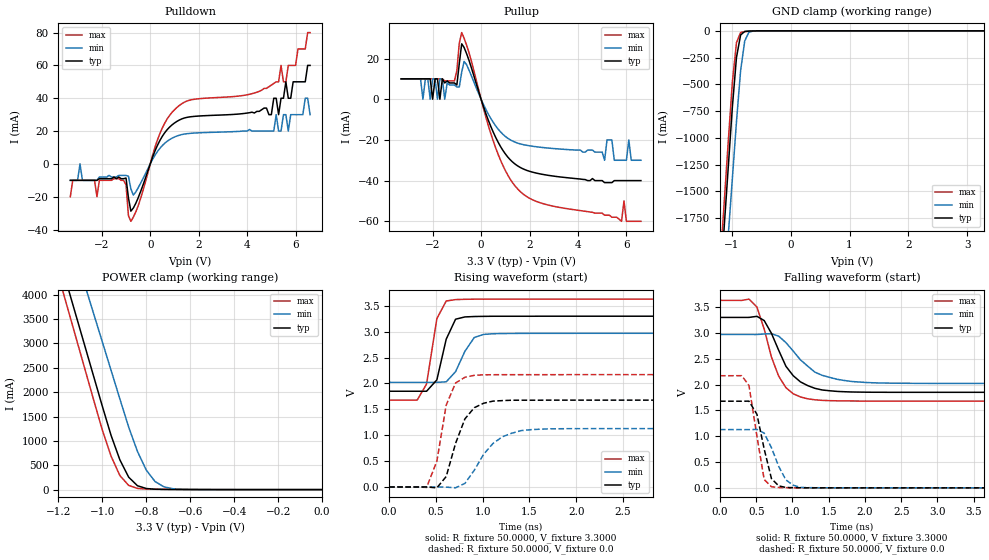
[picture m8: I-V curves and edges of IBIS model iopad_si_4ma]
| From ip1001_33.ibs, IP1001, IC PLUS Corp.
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|   Model iopad_si_4ma
[Model]  iopad_si_4ma
Model_type I/O
Polarity   Non-Inverting
Enable   Active-Low
Vinl =   0.8000V
Vinh =   1.8000V
Vmeas =  1.2500V
C_comp   0.3000pF   0.2400pF   0.3600pF
[Temperature Range]   27.0000   100.0000   0.0
[Voltage Range]   3.3000V   2.9700V   3.6300V
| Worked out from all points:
|   slope of the pulldown table from 0 to 0.495 V, typ, clamps not added: 29.6 ohm
|   slope of the pullup table from 0 to 0.495 V, typ, clamps not added: 31 ohm
|   GND clamp passes 1 mA (typ) near -0.63 V on its own axis
|   POWER clamp passes 1 mA (typ) near -0.57 V on its own axis
|   rising waveform, R_fixture 50.0000, V_fixture 3.3000: 20-80 % time 131ps typ, 168ps min, 102ps max; typ from 1.85 V to 3.3 V
|   rising waveform, R_fixture 50.0000, V_fixture 0.0: 20-80 % time 191ps typ, 286ps min, 150ps max; typ from 0 V to 1.68 V
|   falling waveform, R_fixture 50.0000, V_fixture 3.3000: 20-80 % time 334ps typ, 427ps min, 281ps max; typ from 3.3 V to 1.85 V
|   falling waveform, R_fixture 50.0000, V_fixture 0.0: 20-80 % time 161ps typ, 217ps min, 150ps max; typ from 1.68 V to 0 V
[Pulldown]
|Voltage   I(typ)   I(min)   I(max)
-3.3V     -10mA      -10mA      -20mA
-1.1V     -9mA       -7mA       -10mA
-800mV    -28.77mA   -15.1mA    -34.95mA
1V        24.91mA    16.38mA    32.98mA
5.1V      40mA       20mA       49mA
5.2V      40mA       30mA       50mA
5.3V      30mA       20mA       50mA
5.6V      50mA       30mA       50mA
5.7V      40mA       20mA       60mA
5.8V      40mA       30mA       60mA
6.4V      50mA       40mA       70mA
6.6V      60mA       30mA       80mA
[Pullup]
|Voltage   I(typ)   I(min)   I(max)
-3.3V     10mA       10mA       10mA
-2.4V     10mA       0A         10mA
-1.7V     0A         10mA       10mA
-1.1V     8mA        7mA        9mA
-800mV    27.24mA    13.3mA     32.76mA
600mV     -18.69mA   -13.07mA   -23.83mA
1.5V      -32.69mA   -21.53mA   -43.96mA
5.8V      -40mA      -30mA      -60mA
5.9V      -40mA      -30mA      -50mA
6V        -40mA      -30mA      -60mA
6.1V      -40mA      -20mA      -60mA
6.6V      -40mA      -30mA      -60mA
[GND_clamp]
|Voltage   I(typ)   I(min)   I(max)
-3.3V     -19.41A    -18.96A    -19.6A
-1.2V     -2.411A    -2.98A     -2.198A
-1.13V    -1.844A    -2.447A    -1.618A
-1.06V    -1.278A    -1.914A    -1.038A
-990mV    -713.1mA   -1.382A    -481.3mA
-920mV    -248.8mA   -849.4mA   -111.1mA
-850mV    -39.02mA   -373.5mA   -15.88mA
-780mV    -6.109mA   -94.67mA   -6.703mA
-710mV    -2.353mA   -14.34mA   -4.375mA
-640mV    -1.103mA   -2.066mA   -2.655mA
3.28V     43.51pA    3.97uA     -63.91pA
[POWER_clamp]
|Voltage   I(typ)   I(min)   I(max)
-3.28V    37.2A      36.47A     37.52A
-1.2V     4.828A     5.969A     4.4A
-1.16V    4.205A     5.382A     3.763A
-1.12V    3.582A     4.796A     3.126A
-1.08V    2.96A      4.209A     2.489A
-1.04V    2.337A     3.622A     1.852A
-960mV    1.113A     2.449A     685.8mA
-920mV    611.4mA    1.862A     288.4mA
-840mV    79.46mA    783.6mA    24.69mA
-760mV    7.994mA    166.4mA    7.074mA
-640mV    2.007mA    6.178mA    3.575mA
0V        106.5pA    303.7pA    167.4pA
[Ramp]
| variable   typ   min   max
dV/dt_r  1.0068/0.1914n   0.6768/0.2860n   1.3026/0.1486n
dV/dt_f  0.8700/0.3340n   0.5688/0.4271n   1.1706/0.2806n
R_load = 50.0000
[Rising Waveform]
R_fixture= 50.0000
V_fixture= 3.3000
V_fixture_min= 2.9700
V_fixture_max= 3.6300
|time   V(typ)   V(min)   V(max)
0s        1.85V      2.022V     1.679V
300ps     1.85V      2.022V     1.68V
400ps     1.85V      2.022V     1.99V
510ps     2.069V     2.022V     3.253V
610ps     2.856V     2.032V     3.594V
710ps     3.242V     2.228V     3.621V
810ps     3.286V     2.622V     3.627V
910ps     3.294V     2.889V     3.629V
1.11ns    3.299V     2.961V     3.629V
10ns      3.3V       2.97V      3.63V
[Rising Waveform]
R_fixture= 50.0000
V_fixture= 0.0
V_fixture_min= 0.0
V_fixture_max= 0.0
|time   V(typ)   V(min)   V(max)
0s        0V         0V         0V
400ps     680uV      -7.11uV    -9.092mV
510ps     -17.12mV   197.9uV    497.6mV
610ps     202.3mV    -3.073mV   1.583V
710ps     842.9mV    -15.45mV   2.009V
810ps     1.316V     68.83mV    2.12V
910ps     1.532V     323.1mV    2.158V
1.21ns    1.669V     970.1mV    2.17V
1.62ns    1.677V     1.117V     2.17V
10ns      1.678V     1.128V     2.171V
[Falling Waveform]
R_fixture= 50.0000
V_fixture= 3.3000
V_fixture_min= 2.9700
V_fixture_max= 3.6300
|time   V(typ)   V(min)   V(max)
0s        3.3V       2.97V      3.63V
400ps     3.3V       2.97V      3.654V
510ps     3.321V     2.969V     3.5V
610ps     3.239V     2.98V      3.075V
810ps     2.664V     2.937V     2.162V
1.01ns    2.172V     2.65V      1.822V
1.21ns    1.98V      2.357V     1.724V
1.62ns    1.867V     2.101V     1.685V
2.22ns    1.851V     2.03V      1.68V
10ns      1.85V      2.022V     1.679V
[Falling Waveform]
R_fixture= 50.0000
V_fixture= 0.0
V_fixture_min= 0.0
V_fixture_max= 0.0
|time   V(typ)   V(min)   V(max)
0s        1.678V     1.128V     2.171V
300ps     1.677V     1.128V     2.172V
400ps     1.679V     1.127V     1.982V
510ps     1.423V     1.132V     997.2mV
610ps     751.3mV    1.06V      159.9mV
710ps     179.7mV    778.2mV    21.08mV
810ps     38.57mV    416.3mV    6.356mV
910ps     7.05mV     153.3mV    3.198mV
1.11ns    2.015mV    9.536mV    781.5uV
10ns      -1.792uV   -3.622uV   2.269uV
